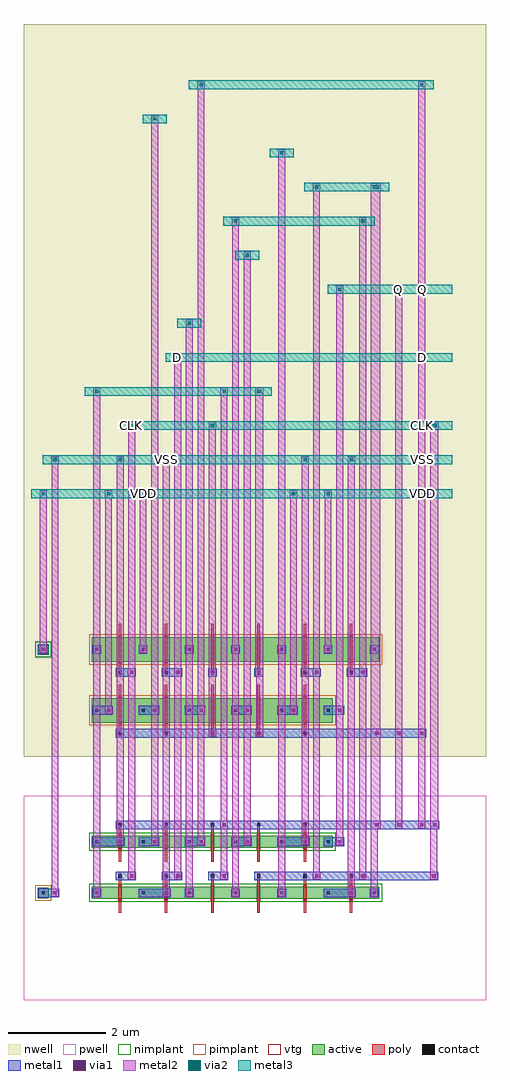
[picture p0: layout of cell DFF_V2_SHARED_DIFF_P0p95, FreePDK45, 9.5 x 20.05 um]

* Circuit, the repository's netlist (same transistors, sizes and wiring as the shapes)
* cell DFF_V2_SHARED_DIFF_P0p95
* pin D
* pin CLK,Q
* pin VDD
* pin VSS
.SUBCKT DFF_V2_SHARED_DIFF_P0p95 2 6 7 8
* net 2 D
* net 6 CLK,Q
* net 7 VDD
* net 8 VSS
* device instance $1 r0 *1 1.675,7 PMOS_VTG
M$1 7 6 6 7 PMOS_VTG L=0.05U W=1.5U AS=0.725P AD=0.775P PS=4.9U PD=5.6U
* device instance $2 r0 *1 2.625,7 PMOS_VTG
M$2 3 2 7 7 PMOS_VTG L=0.05U W=0.5U AS=0.225P AD=0.225P PS=1.4U PD=1.4U
* device instance $3 r0 *1 3.575,7 PMOS_VTG
M$3 6 6 3 7 PMOS_VTG L=0.05U W=0.5U AS=0.225P AD=0.225P PS=1.4U PD=1.4U
* device instance $4 r0 *1 4.525,7 PMOS_VTG
M$4 1 6 6 7 PMOS_VTG L=0.05U W=0.5U AS=0.225P AD=0.225P PS=1.4U PD=1.4U
* device instance $5 r0 *1 5.475,7 PMOS_VTG
M$5 7 6 1 7 PMOS_VTG L=0.05U W=0.5U AS=0.225P AD=0.225P PS=1.4U PD=1.4U
* device instance $7 r0 *1 1.675,5.75 PMOS_VTG
M$7 4 6 7 7 PMOS_VTG L=0.05U W=0.5U AS=0.275P AD=0.225P PS=2.1U PD=1.4U
* device instance $8 r0 *1 2.625,5.75 PMOS_VTG
M$8 6 6 4 7 PMOS_VTG L=0.05U W=0.5U AS=0.225P AD=0.225P PS=1.4U PD=1.4U
* device instance $9 r0 *1 3.575,5.75 PMOS_VTG
M$9 5 6 6 7 PMOS_VTG L=0.05U W=0.5U AS=0.225P AD=0.225P PS=1.4U PD=1.4U
* device instance $10 r0 *1 4.525,5.75 PMOS_VTG
M$10 7 6 5 7 PMOS_VTG L=0.05U W=0.5U AS=0.225P AD=0.225P PS=1.4U PD=1.4U
* device instance $12 r0 *1 1.675,3.05 NMOS_VTG
M$12 4 6 8 8 NMOS_VTG L=0.05U W=0.25U AS=0.1375P AD=0.1125P PS=1.6U PD=1.15U
* device instance $13 r0 *1 2.625,3.05 NMOS_VTG
M$13 6 6 4 8 NMOS_VTG L=0.05U W=0.25U AS=0.1125P AD=0.1125P PS=1.15U PD=1.15U
* device instance $14 r0 *1 3.575,3.05 NMOS_VTG
M$14 5 6 6 8 NMOS_VTG L=0.05U W=0.25U AS=0.1125P AD=0.1125P PS=1.15U PD=1.15U
* device instance $15 r0 *1 4.525,3.05 NMOS_VTG
M$15 8 6 5 8 NMOS_VTG L=0.05U W=0.25U AS=0.1125P AD=0.1125P PS=1.15U PD=1.15U
* device instance $16 r0 *1 5.475,3.05 NMOS_VTG
M$16 6 6 8 8 NMOS_VTG L=0.05U W=0.75U AS=0.3625P AD=0.3875P PS=3.9U PD=4.35U
* device instance $18 r0 *1 2.625,2 NMOS_VTG
M$18 3 2 8 8 NMOS_VTG L=0.05U W=0.25U AS=0.1125P AD=0.1125P PS=1.15U PD=1.15U
* device instance $19 r0 *1 3.575,2 NMOS_VTG
M$19 6 6 3 8 NMOS_VTG L=0.05U W=0.25U AS=0.1125P AD=0.1125P PS=1.15U PD=1.15U
* device instance $20 r0 *1 4.525,2 NMOS_VTG
M$20 1 6 6 8 NMOS_VTG L=0.05U W=0.25U AS=0.1125P AD=0.1125P PS=1.15U PD=1.15U
* device instance $21 r0 *1 5.475,2 NMOS_VTG
M$21 8 6 1 8 NMOS_VTG L=0.05U W=0.25U AS=0.1125P AD=0.1125P PS=1.15U PD=1.15U
.ENDS DFF_V2_SHARED_DIFF_P0p95

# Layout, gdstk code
import gdstk
lib = gdstk.Library(unit=1e-6, precision=5e-10)
def R(c, l, rs):  # rectangles x0, y0, x1, y1
    for r in rs: c.add(gdstk.rectangle(r[:2], r[2:], *l))
def A(c, l, x, y, w, h, nx, ny, dx, dy):  # array of equal rectangles
    R(c, l, [(x+i*dx, y+j*dy, x+i*dx+w, y+j*dy+h) for i in range(nx) for j in range(ny)])
active = (1, 0)
pwell = (2, 0)
nwell = (3, 0)
nimplant = (4, 0)
pimplant = (5, 0)
vtg = (6, 0)
poly = (9, 0)
contact = (10, 0)
metal1 = (11, 0)
via1 = (12, 0)
metal2 = (13, 0)
via2 = (14, 0)
metal3 = (15, 0)

dff_v2_shared_diff_p0p95 = lib.new_cell('DFF_V2_SHARED_DIFF_P0p95')
R(dff_v2_shared_diff_p0p95, active, [(1.1,1.875,7,2.125), (-0.01,1.89,0.21,2.11), (1.1,2.925,6.05,3.175), (1.1,5.5,6.05,6), (1.1,6.75,7,7.25), (-0.01,6.89,0.21,7.11)])
R(dff_v2_shared_diff_p0p95, pwell, [(-0.3,-0.2,9.2,4)])
R(dff_v2_shared_diff_p0p95, nwell, [(-0.3,4.8,9.2,19.85)])
R(dff_v2_shared_diff_p0p95, nimplant, [(1.04,1.815,7.06,2.185), (1.04,2.865,6.11,3.235), (-0.06,6.84,0.26,7.16)])
R(dff_v2_shared_diff_p0p95, pimplant, [(-0.06,1.84,0.26,2.16), (1.04,5.44,6.11,6.06), (1.04,6.69,7.06,7.31)])
A(dff_v2_shared_diff_p0p95, vtg, 1.64, 1.845, 0.07, 0.31, 6, 1, 0.95, 0)
A(dff_v2_shared_diff_p0p95, vtg, 1.64, 2.895, 0.07, 0.31, 5, 1, 0.95, 0)
A(dff_v2_shared_diff_p0p95, vtg, 1.64, 5.47, 0.07, 0.56, 5, 1, 0.95, 0)
A(dff_v2_shared_diff_p0p95, vtg, 1.64, 6.72, 0.07, 0.56, 6, 1, 0.95, 0)
A(dff_v2_shared_diff_p0p95, poly, 1.65, 1.595, 0.05, 0.81, 6, 1, 0.95, 0)
A(dff_v2_shared_diff_p0p95, poly, 1.65, 2.645, 0.05, 0.81, 5, 1, 0.95, 0)
A(dff_v2_shared_diff_p0p95, poly, 1.65, 5.22, 0.05, 1.06, 5, 1, 0.95, 0)
A(dff_v2_shared_diff_p0p95, poly, 1.65, 6.47, 0.05, 1.06, 6, 1, 0.95, 0)
A(dff_v2_shared_diff_p0p95, contact, 1.17, 1.97, 0.065, 0.065, 7, 2, 0.95, 5)
A(dff_v2_shared_diff_p0p95, contact, 1.645, 2.315, 0.065, 0.065, 6, 2, 0.95, 4.185)
A(dff_v2_shared_diff_p0p95, contact, 1.17, 3.02, 0.065, 0.065, 6, 2, 0.95, 2.7)
A(dff_v2_shared_diff_p0p95, contact, 1.645, 3.365, 0.065, 0.065, 5, 2, 0.95, 1.885)
R(dff_v2_shared_diff_p0p95, contact, [(0.07,1.97,0.135,2.035), (0.07,6.97,0.135,7.035)])
A(dff_v2_shared_diff_p0p95, metal1, 1.675, 2.255, 0.24, 0.18, 3, 1, 0.95, 0)
A(dff_v2_shared_diff_p0p95, metal1, 2.15, 2.96, 0.24, 0.18, 3, 1, 0.95, 0)
A(dff_v2_shared_diff_p0p95, metal1, 1.585, 3.305, 0.18, 0.18, 3, 2, 0.95, 1.885)
A(dff_v2_shared_diff_p0p95, metal1, 1.2, 5.66, 0.24, 0.18, 6, 1, 0.95, 0)
R(dff_v2_shared_diff_p0p95, metal1, [(0,1.9,0.2,2.1), (0.1,1.91,0.34,2.09), (0.25,1.91,0.43,2.09), (1.11,1.91,1.29,2.09), (1.11,1.91,1.29,2.09), (2.06,1.91,2.24,2.09), (2.15,1.91,2.63,2.09), (2.54,1.91,2.72,2.09), (3.01,1.91,3.19,2.09), (3.01,1.91,3.19,2.09), (3.96,1.91,4.14,2.09), (3.96,1.91,4.14,2.09), (4.91,1.91,5.09,2.09), (4.91,1.91,5.09,2.09), (5.86,1.91,6.04,2.09), (5.95,1.91,6.43,2.09), (6.34,1.91,6.52,2.09), (6.81,1.91,6.99,2.09), (6.81,1.91,6.99,2.09), (1.585,2.255,1.765,2.435), (1.825,2.255,2.005,2.435), (2.535,2.255,2.715,2.435), (2.775,2.255,2.955,2.435), (3.485,2.255,3.665,2.435), (3.725,2.255,3.905,2.435), (4.435,2.255,4.615,2.435), (4.525,2.255,8.125,2.435), (5.385,2.255,5.565,2.435), (5.475,2.255,5.715,2.435), (5.625,2.255,5.805,2.435), (6.335,2.255,6.515,2.435), (6.425,2.255,6.665,2.435), (6.575,2.255,6.755,2.435), (8.035,2.255,8.215,2.435), (1.11,2.96,1.29,3.14), (1.2,2.96,1.68,3.14), (1.59,2.96,1.77,3.14), (2.06,2.96,2.24,3.14), (2.3,2.96,2.48,3.14), (3.01,2.96,3.19,3.14), (3.25,2.96,3.43,3.14), (3.96,2.96,4.14,3.14), (4.2,2.96,4.38,3.14), (4.91,2.96,5.09,3.14), (5,2.96,5.48,3.14), (5.39,2.96,5.57,3.14), (5.86,2.96,6.04,3.14), (5.95,2.96,6.19,3.14), (6.1,2.96,6.28,3.14), (1.675,3.305,6.955,3.485), (2.625,3.305,8.145,3.485), (3.575,3.305,3.815,3.485), (3.725,3.305,3.905,3.485), (4.435,3.305,4.615,3.485), (4.525,3.305,7.405,3.485), (5.385,3.305,5.565,3.485), (5.475,3.305,7.875,3.485), (6.865,3.305,7.045,3.485), (7.315,3.305,7.495,3.485), (7.785,3.305,7.965,3.485), (8.055,3.305,8.235,3.485), (1.675,5.19,6.955,5.37), (2.625,5.19,4.545,5.37), (3.485,5.19,3.665,5.37), (4.435,5.19,4.615,5.37), (4.455,5.19,4.635,5.37), (4.525,5.19,7.405,5.37), (5.385,5.19,5.565,5.37), (5.475,5.19,7.875,5.37), (6.865,5.19,7.045,5.37), (7.315,5.19,7.495,5.37), (7.785,5.19,7.965,5.37), (1.11,5.66,1.29,5.84), (1.35,5.66,1.53,5.84), (2.06,5.66,2.24,5.84), (2.3,5.66,2.48,5.84), (3.01,5.66,3.19,5.84), (3.25,5.66,3.43,5.84), (3.96,5.66,4.14,5.84), (4.2,5.66,4.38,5.84), (4.91,5.66,5.09,5.84), (5.15,5.66,5.33,5.84), (5.86,5.66,6.04,5.84), (6.1,5.66,6.28,5.84), (1.585,6.44,1.765,6.62), (1.675,6.44,1.915,6.62), (1.825,6.44,2.005,6.62), (2.535,6.44,2.715,6.62), (2.625,6.44,2.865,6.62), (2.775,6.44,2.955,6.62), (3.485,6.44,3.665,6.62), (3.485,6.44,3.665,6.62), (4.435,6.44,4.615,6.62), (4.435,6.44,4.615,6.62), (5.385,6.44,5.565,6.62), (5.475,6.44,5.715,6.62), (5.625,6.44,5.805,6.62), (6.335,6.44,6.515,6.62), (6.425,6.44,6.665,6.62), (6.575,6.44,6.755,6.62), (0,6.9,0.2,7.1), (0.01,6.91,0.19,7.09), (1.11,6.91,1.29,7.09), (1.11,6.91,1.29,7.09), (2.06,6.91,2.24,7.09), (2.06,6.91,2.24,7.09), (3.01,6.91,3.19,7.09), (3.01,6.91,3.19,7.09), (3.96,6.91,4.14,7.09), (3.96,6.91,4.14,7.09), (4.91,6.91,5.09,7.09), (4.91,6.91,5.09,7.09), (5.86,6.91,6.04,7.09), (5.86,6.91,6.04,7.09), (6.81,6.91,6.99,7.09), (6.81,6.91,6.99,7.09)])
A(dff_v2_shared_diff_p0p95, via1, 3.07, 1.97, 0.065, 0.065, 3, 1, 0.95, 0)
A(dff_v2_shared_diff_p0p95, via1, 1.885, 2.315, 0.065, 0.065, 3, 1, 0.95, 0)
A(dff_v2_shared_diff_p0p95, via1, 2.36, 3.02, 0.065, 0.065, 3, 1, 0.95, 0)
A(dff_v2_shared_diff_p0p95, via1, 1.41, 5.72, 0.065, 0.065, 6, 1, 0.95, 0)
A(dff_v2_shared_diff_p0p95, via1, 1.17, 6.97, 0.065, 0.065, 7, 1, 0.95, 0)
R(dff_v2_shared_diff_p0p95, via1, [(0.31,1.97,0.375,2.035), (1.17,1.97,1.235,2.035), (2.6,1.97,2.665,2.035), (6.4,1.97,6.465,2.035), (6.87,1.97,6.935,2.035), (5.685,2.315,5.75,2.38), (6.635,2.315,6.7,2.38), (8.095,2.315,8.16,2.38), (1.65,3.02,1.715,3.085), (5.45,3.02,5.515,3.085), (6.16,3.02,6.225,3.085), (3.785,3.365,3.85,3.43), (6.925,3.365,6.99,3.43), (7.375,3.365,7.44,3.43), (7.845,3.365,7.91,3.43), (8.115,3.365,8.18,3.43), (3.545,5.25,3.61,5.315), (4.515,5.25,4.58,5.315), (6.925,5.25,6.99,5.315), (7.375,5.25,7.44,5.315), (7.845,5.25,7.91,5.315), (1.885,6.5,1.95,6.565), (2.835,6.5,2.9,6.565), (3.545,6.5,3.61,6.565), (4.495,6.5,4.56,6.565), (5.685,6.5,5.75,6.565), (6.635,6.5,6.7,6.565), (0.07,6.97,0.135,7.035)])
A(dff_v2_shared_diff_p0p95, metal2, 3.025, 1.925, 0.15, 0.15, 3, 1, 0.95, 0)
A(dff_v2_shared_diff_p0p95, metal2, 1.84, 2.27, 0.15, 0.15, 3, 1, 0.95, 0)
A(dff_v2_shared_diff_p0p95, metal2, 2.315, 2.975, 0.15, 0.15, 3, 1, 0.95, 0)
A(dff_v2_shared_diff_p0p95, metal2, 1.365, 5.675, 0.15, 0.15, 6, 1, 0.95, 0)
A(dff_v2_shared_diff_p0p95, metal2, 1.125, 6.925, 0.15, 0.15, 7, 1, 0.95, 0)
R(dff_v2_shared_diff_p0p95, metal2, [(0.265,1.925,0.415,2.075), (1.125,1.925,1.275,2.075), (2.555,1.925,2.705,2.075), (6.355,1.925,6.505,2.075), (6.825,1.925,6.975,2.075), (0.27,2,0.41,10.9), (1.13,2,1.27,12.3), (2.56,2,2.7,10.9), (3.03,2,3.17,13.7), (3.98,2,4.12,15.8), (4.93,2,5.07,17.2), (6.36,2,6.5,10.9), (6.83,2,6.97,16.5), (5.64,2.27,5.79,2.42), (6.59,2.27,6.74,2.42), (8.05,2.27,8.2,2.42), (1.845,2.345,1.985,11.6), (2.795,2.345,2.935,13), (3.745,2.345,3.885,12.3), (5.645,2.345,5.785,16.5), (6.595,2.345,6.735,15.8), (8.055,2.345,8.195,11.6), (1.605,2.975,1.755,3.125), (5.405,2.975,5.555,3.125), (6.115,2.975,6.265,3.125), (1.61,3.05,1.75,10.9), (2.32,3.05,2.46,17.9), (3.27,3.05,3.41,18.6), (4.22,3.05,4.36,15.1), (5.41,3.05,5.55,10.9), (6.12,3.05,6.26,14.4), (3.74,3.32,3.89,3.47), (6.88,3.32,7.03,3.47), (7.33,3.32,7.48,3.47), (7.8,3.32,7.95,3.47), (8.07,3.32,8.22,3.47), (3.745,3.395,3.885,12.3), (6.885,3.395,7.025,16.5), (7.335,3.395,7.475,14.4), (7.805,3.395,7.945,18.6), (8.075,3.395,8.215,11.6), (3.5,5.205,3.65,5.355), (4.47,5.205,4.62,5.355), (6.88,5.205,7.03,5.355), (7.33,5.205,7.48,5.355), (7.8,5.205,7.95,5.355), (3.505,5.28,3.645,11.6), (4.475,5.28,4.615,12.3), (6.885,5.28,7.025,16.5), (7.335,5.28,7.475,14.4), (7.805,5.28,7.945,18.6), (1.37,5.75,1.51,10.2), (2.32,5.75,2.46,17.9), (3.27,5.75,3.41,18.6), (4.22,5.75,4.36,15.1), (5.17,5.75,5.31,10.2), (6.12,5.75,6.26,14.4), (1.84,6.455,1.99,6.605), (2.79,6.455,2.94,6.605), (3.5,6.455,3.65,6.605), (4.45,6.455,4.6,6.605), (5.64,6.455,5.79,6.605), (6.59,6.455,6.74,6.605), (1.845,6.53,1.985,11.6), (2.795,6.53,2.935,13), (3.505,6.53,3.645,11.6), (4.455,6.53,4.595,12.3), (5.645,6.53,5.785,16.5), (6.595,6.53,6.735,15.8), (0.025,6.925,0.175,7.075), (0.03,7,0.17,10.2), (1.13,7,1.27,12.3), (2.08,7,2.22,10.2), (3.03,7,3.17,13.7), (3.98,7,4.12,15.8), (4.93,7,5.07,17.2), (5.88,7,6.02,10.2), (6.83,7,6.97,16.5), (0.025,10.125,0.175,10.275), (1.365,10.125,1.515,10.275), (2.075,10.125,2.225,10.275), (5.165,10.125,5.315,10.275), (5.875,10.125,6.025,10.275), (0.265,10.825,0.415,10.975), (1.605,10.825,1.755,10.975), (2.555,10.825,2.705,10.975), (5.405,10.825,5.555,10.975), (6.355,10.825,6.505,10.975), (1.84,11.525,1.99,11.675), (1.84,11.525,1.99,11.675), (3.5,11.525,3.65,11.675), (3.5,11.525,3.65,11.675), (8.05,11.525,8.2,11.675), (8.07,11.525,8.22,11.675), (1.125,12.225,1.275,12.375), (1.125,12.225,1.275,12.375), (3.74,12.225,3.89,12.375), (3.74,12.225,3.89,12.375), (4.45,12.225,4.6,12.375), (4.47,12.225,4.62,12.375), (2.79,12.925,2.94,13.075), (2.79,12.925,2.94,13.075), (3.025,13.625,3.175,13.775), (3.025,13.625,3.175,13.775), (6.115,14.325,6.265,14.475), (6.115,14.325,6.265,14.475), (7.33,14.325,7.48,14.475), (7.33,14.325,7.48,14.475), (4.215,15.025,4.365,15.175), (4.215,15.025,4.365,15.175), (3.975,15.725,4.125,15.875), (3.975,15.725,4.125,15.875), (6.59,15.725,6.74,15.875), (6.59,15.725,6.74,15.875), (5.64,16.425,5.79,16.575), (5.64,16.425,5.79,16.575), (6.825,16.425,6.975,16.575), (6.825,16.425,6.975,16.575), (6.88,16.425,7.03,16.575), (6.88,16.425,7.03,16.575), (4.925,17.125,5.075,17.275), (4.925,17.125,5.075,17.275), (2.315,17.825,2.465,17.975), (2.315,17.825,2.465,17.975), (3.265,18.525,3.415,18.675), (3.265,18.525,3.415,18.675), (7.8,18.525,7.95,18.675), (7.8,18.525,7.95,18.675)])
R(dff_v2_shared_diff_p0p95, via2, [(0.07,10.17,0.135,10.235), (1.41,10.17,1.475,10.235), (2.12,10.17,2.185,10.235), (5.21,10.17,5.275,10.235), (5.92,10.17,5.985,10.235), (0.31,10.87,0.375,10.935), (1.65,10.87,1.715,10.935), (2.6,10.87,2.665,10.935), (5.45,10.87,5.515,10.935), (6.4,10.87,6.465,10.935), (1.885,11.57,1.95,11.635), (1.885,11.57,1.95,11.635), (3.545,11.57,3.61,11.635), (3.545,11.57,3.61,11.635), (8.095,11.57,8.16,11.635), (8.115,11.57,8.18,11.635), (1.17,12.27,1.235,12.335), (1.17,12.27,1.235,12.335), (3.785,12.27,3.85,12.335), (3.785,12.27,3.85,12.335), (4.495,12.27,4.56,12.335), (4.515,12.27,4.58,12.335), (2.835,12.97,2.9,13.035), (2.835,12.97,2.9,13.035), (3.07,13.67,3.135,13.735), (3.07,13.67,3.135,13.735), (6.16,14.37,6.225,14.435), (6.16,14.37,6.225,14.435), (7.375,14.37,7.44,14.435), (7.375,14.37,7.44,14.435), (4.26,15.07,4.325,15.135), (4.26,15.07,4.325,15.135), (4.02,15.77,4.085,15.835), (4.02,15.77,4.085,15.835), (6.635,15.77,6.7,15.835), (6.635,15.77,6.7,15.835), (5.685,16.47,5.75,16.535), (5.685,16.47,5.75,16.535), (6.87,16.47,6.935,16.535), (6.87,16.47,6.935,16.535), (6.925,16.47,6.99,16.535), (6.925,16.47,6.99,16.535), (4.97,17.17,5.035,17.235), (4.97,17.17,5.035,17.235), (2.36,17.87,2.425,17.935), (2.36,17.87,2.425,17.935), (3.31,18.57,3.375,18.635), (3.31,18.57,3.375,18.635), (7.845,18.57,7.91,18.635), (7.845,18.57,7.91,18.635)])
R(dff_v2_shared_diff_p0p95, metal3, [(-0.15,10.11,6.2,10.29), (6.2,10.11,8.5,10.29), (0.025,10.125,0.175,10.275), (1.365,10.125,1.515,10.275), (2.075,10.125,2.225,10.275), (5.165,10.125,5.315,10.275), (5.875,10.125,6.025,10.275), (0.09,10.81,6.68,10.99), (6.68,10.81,8.5,10.99), (0.265,10.825,0.415,10.975), (1.605,10.825,1.755,10.975), (2.555,10.825,2.705,10.975), (5.405,10.825,5.555,10.975), (6.355,10.825,6.505,10.975), (1.665,11.51,8.395,11.69), (8.395,11.51,8.5,11.69), (1.84,11.525,1.99,11.675), (1.84,11.525,1.99,11.675), (3.5,11.525,3.65,11.675), (3.5,11.525,3.65,11.675), (8.05,11.525,8.2,11.675), (8.07,11.525,8.22,11.675), (0.95,12.21,4.795,12.39), (1.125,12.225,1.275,12.375), (1.125,12.225,1.275,12.375), (3.74,12.225,3.89,12.375), (3.74,12.225,3.89,12.375), (4.45,12.225,4.6,12.375), (4.47,12.225,4.62,12.375), (2.615,12.91,3.115,13.09), (3.115,12.91,8.5,13.09), (2.79,12.925,2.94,13.075), (2.79,12.925,2.94,13.075), (2.85,13.61,3.35,13.79), (3.025,13.625,3.175,13.775), (3.025,13.625,3.175,13.775), (5.94,14.31,7.655,14.49), (7.655,14.31,8.5,14.49), (6.115,14.325,6.265,14.475), (6.115,14.325,6.265,14.475), (7.33,14.325,7.48,14.475), (7.33,14.325,7.48,14.475), (4.04,15.01,4.54,15.19), (4.215,15.025,4.365,15.175), (4.215,15.025,4.365,15.175), (3.8,15.71,6.915,15.89), (3.975,15.725,4.125,15.875), (3.975,15.725,4.125,15.875), (6.59,15.725,6.74,15.875), (6.59,15.725,6.74,15.875), (5.465,16.41,7.205,16.59), (5.64,16.425,5.79,16.575), (5.64,16.425,5.79,16.575), (6.825,16.425,6.975,16.575), (6.825,16.425,6.975,16.575), (6.88,16.425,7.03,16.575), (6.88,16.425,7.03,16.575), (4.75,17.11,5.25,17.29), (4.925,17.125,5.075,17.275), (4.925,17.125,5.075,17.275), (2.14,17.81,2.64,17.99), (2.315,17.825,2.465,17.975), (2.315,17.825,2.465,17.975), (3.09,18.51,8.125,18.69), (3.265,18.525,3.415,18.675), (3.265,18.525,3.415,18.675), (7.8,18.525,7.95,18.675), (7.8,18.525,7.95,18.675)])
dff_v2_shared_diff_p0p95.add(gdstk.Label('VDD', (7.9,10.2), layer=15, texttype=0))
dff_v2_shared_diff_p0p95.add(gdstk.Label('VDD', (7.9,10.2), layer=15, texttype=1))
dff_v2_shared_diff_p0p95.add(gdstk.Label('VDD', (7.9,10.2), layer=15, texttype=2))
dff_v2_shared_diff_p0p95.add(gdstk.Label('VDD', (2.15,10.2), layer=13, texttype=0))
dff_v2_shared_diff_p0p95.add(gdstk.Label('VDD', (2.15,10.2), layer=13, texttype=1))
dff_v2_shared_diff_p0p95.add(gdstk.Label('VDD', (2.15,10.2), layer=13, texttype=2))
dff_v2_shared_diff_p0p95.add(gdstk.Label('VSS', (7.9,10.9), layer=15, texttype=0))
dff_v2_shared_diff_p0p95.add(gdstk.Label('VSS', (7.9,10.9), layer=15, texttype=1))
dff_v2_shared_diff_p0p95.add(gdstk.Label('VSS', (7.9,10.9), layer=15, texttype=2))
dff_v2_shared_diff_p0p95.add(gdstk.Label('VSS', (2.63,10.9), layer=13, texttype=0))
dff_v2_shared_diff_p0p95.add(gdstk.Label('VSS', (2.63,10.9), layer=13, texttype=1))
dff_v2_shared_diff_p0p95.add(gdstk.Label('VSS', (2.63,10.9), layer=13, texttype=2))
dff_v2_shared_diff_p0p95.add(gdstk.Label('CLK', (7.9,11.6), layer=15, texttype=0))
dff_v2_shared_diff_p0p95.add(gdstk.Label('CLK', (7.9,11.6), layer=15, texttype=1))
dff_v2_shared_diff_p0p95.add(gdstk.Label('CLK', (7.9,11.6), layer=15, texttype=2))
dff_v2_shared_diff_p0p95.add(gdstk.Label('CLK', (1.915,11.6), layer=13, texttype=0))
dff_v2_shared_diff_p0p95.add(gdstk.Label('CLK', (1.915,11.6), layer=13, texttype=1))
dff_v2_shared_diff_p0p95.add(gdstk.Label('CLK', (1.915,11.6), layer=13, texttype=2))
dff_v2_shared_diff_p0p95.add(gdstk.Label('D', (7.9,13), layer=15, texttype=0))
dff_v2_shared_diff_p0p95.add(gdstk.Label('D', (7.9,13), layer=15, texttype=1))
dff_v2_shared_diff_p0p95.add(gdstk.Label('D', (7.9,13), layer=15, texttype=2))
dff_v2_shared_diff_p0p95.add(gdstk.Label('D', (2.865,13), layer=13, texttype=0))
dff_v2_shared_diff_p0p95.add(gdstk.Label('D', (2.865,13), layer=13, texttype=1))
dff_v2_shared_diff_p0p95.add(gdstk.Label('D', (2.865,13), layer=13, texttype=2))
dff_v2_shared_diff_p0p95.add(gdstk.Label('Q', (7.9,14.4), layer=15, texttype=0))
dff_v2_shared_diff_p0p95.add(gdstk.Label('Q', (7.9,14.4), layer=15, texttype=1))
dff_v2_shared_diff_p0p95.add(gdstk.Label('Q', (7.9,14.4), layer=15, texttype=2))
dff_v2_shared_diff_p0p95.add(gdstk.Label('Q', (7.405,14.4), layer=13, texttype=0))
dff_v2_shared_diff_p0p95.add(gdstk.Label('Q', (7.405,14.4), layer=13, texttype=1))
dff_v2_shared_diff_p0p95.add(gdstk.Label('Q', (7.405,14.4), layer=13, texttype=2))

lib.write_gds('DFF_V2_SHARED_DIFF_P0p95.gds')
